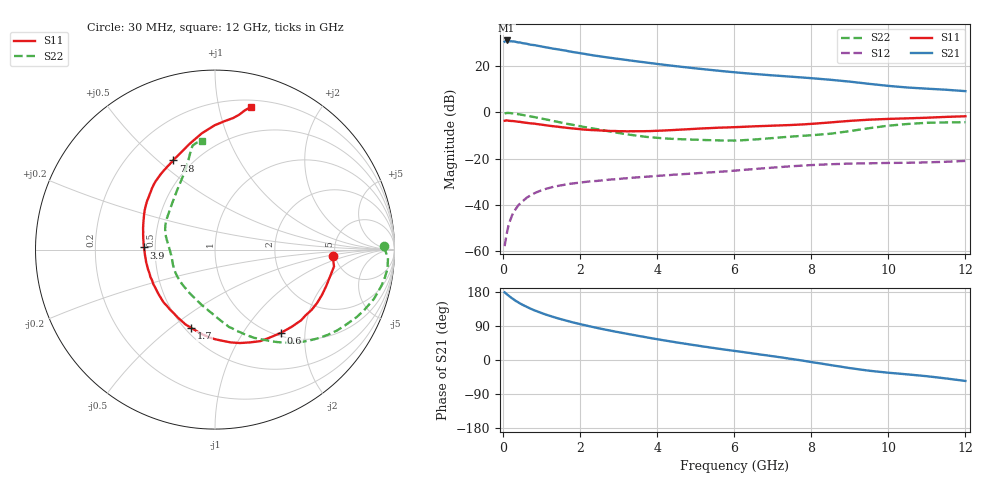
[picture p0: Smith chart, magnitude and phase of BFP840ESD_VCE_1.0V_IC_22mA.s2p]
! Infineon Technologies  Discrete & RF Semiconductors
! BFP840ESD
! VCE =  1.0 V,  IC =  22 mA
! Common Emitter S-Parameters:  May 2012
# GHz  S  MA  R  50
!  f  S11  S21  S12  S22
! GHz  MAG  ANG  MAG  ANG  MAG  ANG  MAG  ANG
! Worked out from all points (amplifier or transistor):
!   93 points, 30 MHz to 12 GHz, reference 50 ohm
!   highest |S21| = 30.9 dB at 80 MHz (marker M1)
!   |S21| within 3 dB of that: start of sweep to 1.116 GHz
!   unconditionally stable (mu >= 1): 4.346 GHz to 9.245 GHz
!   at 1.1 GHz: K = 0.41, MSG = 30.5 dB, |S12| = -33.0 dB
!   at 4.2 GHz: K = 0.99, MSG = 23.8 dB, |S12| = -27.2 dB
!   at 12 GHz: K = 0.78, MSG = 15.0 dB, |S12| = -21.0 dB
!   S11 on the Smith chart (normalised r, x): 30 MHz: 4.74, -0.61; 600 MHz: 1.06, -1.51; 1.7 GHz: 0.54, -0.59; 3.9 GHz: 0.43, +0.01; 7.8 GHz: 0.40, +0.56; 12 GHz: 0.26, +1.25
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0.03  0.6568 -3.2  33.18 178.5  0.0013 112.4  0.9403 1.1
0.08  0.6697 -8.1  35.28 174.1  0.0023 62.4  0.9648 -2.8
0.13  0.6574 -13.7  33.99 170.1  0.0036 71.5  0.9673 -6.3
0.28  0.6422 -27.4  33.49 158.8  0.0074 80.8  0.9379 -14.7
0.33  0.6346 -31.9  32.78 155.3  0.0085 76.6  0.9267 -17.3
0.43  0.6208 -39.4  31.96 149.3  0.0107 72.6  0.8974 -22.0
0.6  0.5918 -51.6  30 140.5  0.0143 66.9  0.8437 -29.5
0.8  0.569 -63.7  28 131.3  0.0179 61.5  0.7876 -37.1
1  0.5389 -75.0  26.04 123.5  0.0209 57.5  0.7288 -44.1
1.3  0.4993 -90.0  23.43 113.4  0.0248 51.9  0.6484 -53.1
1.7  0.4559 -106.9  20.59 102.1  0.0285 46.4  0.5543 -63.8
2.1  0.4233 -122.5  18.16 92.2  0.0313 42.5  0.4807 -73.1
2.4  0.4106 -134.1  16.51 85.3  0.033 40.1  0.4378 -79.8
2.9  0.3939 -150.8  14.43 75.0  0.036 37.3  0.3686 -90.4
3.9  0.3962 178.3  11.25 56.5  0.0419 33.5  0.2855 -117.2
4.1  0.4021 172.8  10.72 53.0  0.0431 32.8  0.2768 -123.0
5  0.4405 153.8  8.816 38.6  0.0484 29.3  0.256 -147.8
6.1  0.4806 138.4  7.154 22.7  0.056 25.9  0.2478 -174.8
7.8  0.5486 115.1  5.582 -2.1  0.0713 15.0  0.3118 151.7
8.5  0.6043 103.8  5.008 -13.4  0.0758 9.0  0.3449 135.0
10.5  0.7396 82.2  3.414 -38.0  0.0815 -5.7  0.5589 104.2
12  0.8197 75.8  2.851 -55.3  0.0894 -12.9  0.6106 96.7
